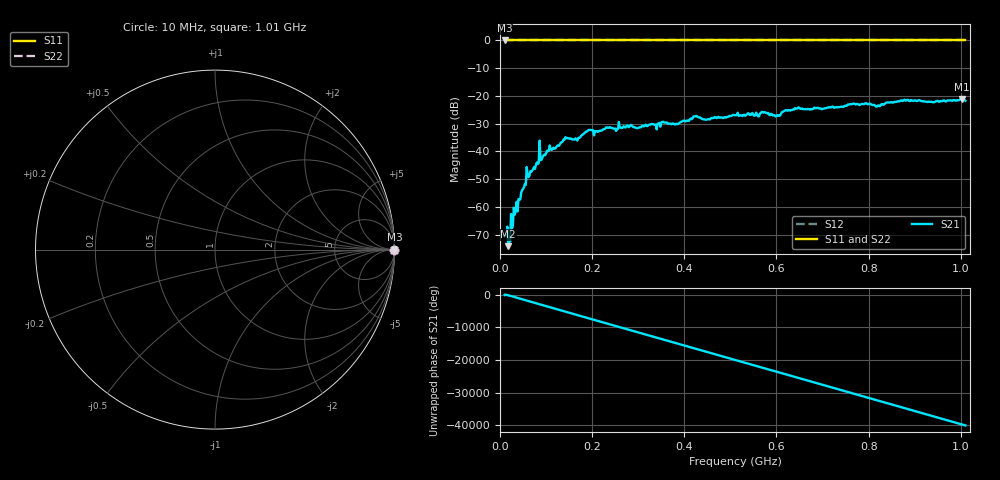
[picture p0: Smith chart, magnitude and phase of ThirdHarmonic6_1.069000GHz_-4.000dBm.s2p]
! 8/16/2025 9:40:09 AM
! C:\ANRITSUVNA\TEMP\TEMP.S2P
! CHANNEL.1
! TR.MEASUREMENT
! RAW.DATA
! RF.CORRECTION.OFF
! AVERAGING.OFF
! IF.BANDWIDTH: 5KHZ
! SWEEPTYPE:  FREQ.SWEEP(Linear)
! Reference Plane Port Info
! PORT:  PORT1  PORT2
! DISTANCE:  0  m  0  m
! TIME:  0  s  0  s
! PHASE.OFFSET:  0  deg.  0  deg.
! LOSS:  0  dB  0  dB
! REF.LOSS:  0  dB  0  dB
! REF.FREQ:  0  Hz  0  Hz
! Power Info
! POWER:  -20  dBm  -20  dBm
! EFF.POWER:  -20  dBm  -20  dBm
! SOURCE.ATTEN:  0  dB  0  dB
! TEST.ATTEN:  0  dB  0  dB
# GHZ S RI R 50.0
! FREQ.GHZ  S11RE  S11IM  S21RE  S21IM  S12RE  S12IM  S22RE  S22IM
!; PortSelection: Port_12
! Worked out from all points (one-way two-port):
!   501 points, 10 MHz to 1.01 GHz, reference 50 ohm
!   highest |S21| = -21.13 dB at 1.002 GHz (marker M1); lowest = -74.2 dB at 18 MHz (marker M2)
!   lowest |S11| = 0.0 dB at 10 MHz (marker M3)
!   |S11| at or under -10 dB: nowhere
!   |S22| runs from 0.0 to 0.0 dB; largest |S21 - S12| = 1.1
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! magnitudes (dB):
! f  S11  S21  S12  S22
! 10 MHz  0.0  -70.6  0.0  0.0
! 18 MHz  0.0  -74.2  0.0  0.0
! 22 MHz  0.0  -72.6  0.0  0.0
! 28 MHz  0.0  -66.7  0.0  0.0
! 56 MHz  0.0  -52.1  0.0  0.0
! 80 MHz  0.0  -44.0  0.0  0.0
! 82 MHz  0.0  -44.6  0.0  0.0
! 142 MHz  0.0  -34.9  0.0  0.0
! 178 MHz  0.0  -34.1  0.0  0.0
! 234 MHz  0.0  -31.5  0.0  0.0
! 344 MHz  0.0  -29.9  0.0  0.0
! 384 MHz  0.0  -30.2  0.0  0.0
! 424 MHz  0.0  -27.4  0.0  0.0
! 446 MHz  0.0  -28.6  0.0  0.0
! 510 MHz  0.0  -27.0  0.0  0.0
! 572 MHz  0.0  -26.0  0.0  0.0
! 602 MHz  0.0  -26.9  0.0  0.0
! 644 MHz  0.0  -24.6  0.0  0.0
! 678 MHz  0.0  -24.7  0.0  0.0
! 844 MHz  0.0  -22.4  0.0  0.0
! 1.002 GHz  0.0  -21.1  0.0  0.0
! 1.01 GHz  0.0  -21.7  0.0  0.0
